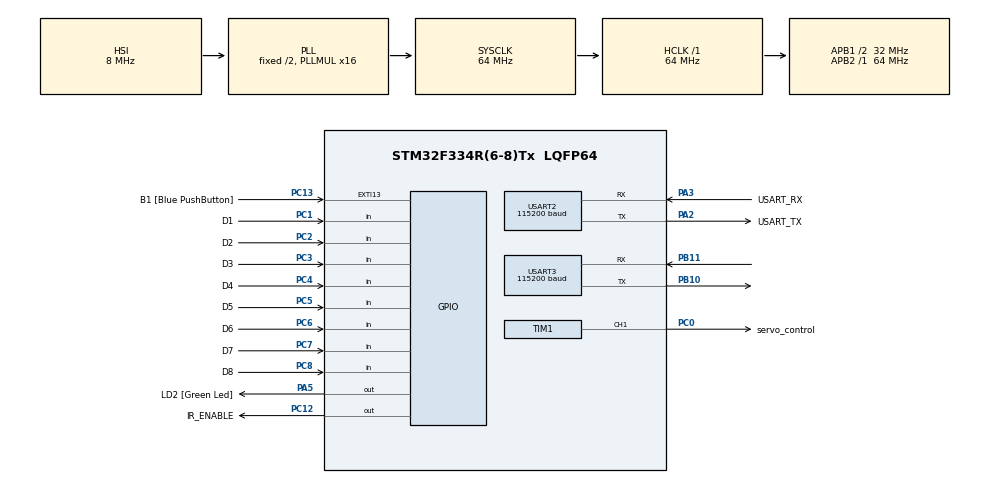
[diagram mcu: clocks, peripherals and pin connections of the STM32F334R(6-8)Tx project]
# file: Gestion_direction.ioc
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Mcu.Family=STM32F3
Mcu.Name=STM32F334R(6-8)Tx
Mcu.Package=LQFP64
NVIC.PriorityGroup=NVIC_PRIORITYGROUP_0
NVIC.USART2_IRQn=true\:0\:0\:false\:false\:true\:true\:true\:true
NVIC.USART3_IRQn=true\:0\:0\:false\:false\:true\:true\:true\:true
PA13.GPIO_Label=TMS
PA13.Mode=Serial_Wire
PA13.Signal=SYS_JTMS-SWDIO
PA14.GPIO_Label=TCK
PA14.Mode=Serial_Wire
PA14.Signal=SYS_JTCK-SWCLK
PA2.GPIO_Label=USART_TX
PA2.GPIO_PuPd=GPIO_NOPULL
PA2.Mode=Asynchronous
PA2.Signal=USART2_TX
PA3.GPIO_Label=USART_RX
PA3.GPIO_PuPd=GPIO_NOPULL
PA3.Mode=Asynchronous
PA3.Signal=USART2_RX
PA5.GPIO_Label=LD2 [Green Led]
PA5.Signal=GPIO_Output
PB10.Mode=Asynchronous
PB10.Signal=USART3_TX
PB11.Mode=Asynchronous
PB11.Signal=USART3_RX
PB3.GPIO_Label=SWO
PB3.Signal=SYS_JTDO-TRACESWO
PC0.GPIO_Label=servo_control
PC0.Signal=S_TIM1_CH1
PC1.GPIO_Label=D1
PC1.Signal=GPIO_Input
PC12.GPIO_Label=IR_ENABLE
PC12.Signal=GPIO_Output
PC13.GPIO_Label=B1 [Blue PushButton]
PC13.GPIO_ModeDefaultEXTI=GPIO_MODE_IT_FALLING
PC13.Signal=GPXTI13
PC14\ /\ OSC32_IN.Mode=LSE-External-Oscillator
PC14\ /\ OSC32_IN.Signal=RCC_OSC32_IN
PC15\ /\ OSC32_OUT.GPIO_Label=RCC_OSC32_OUT
PC15\ /\ OSC32_OUT.Mode=LSE-External-Oscillator
PC15\ /\ OSC32_OUT.Signal=RCC_OSC32_OUT
PC2.GPIO_Label=D2
PC2.Signal=GPIO_Input
PC3.GPIO_Label=D3
PC3.Signal=GPIO_Input
PC4.GPIO_Label=D4
PC4.Signal=GPIO_Input
PC5.GPIO_Label=D5
PC5.Signal=GPIO_Input
PC6.GPIO_Label=D6
PC6.Signal=GPIO_Input
PC7.GPIO_Label=D7
PC7.Signal=GPIO_Input
PC8.GPIO_Label=D8
PC8.Signal=GPIO_Input
PF0\ /\ OSC_IN.Mode=HSE-External-Clock-Source
PF0\ /\ OSC_IN.Signal=RCC_OSC_IN
PF1\ /\ OSC_OUT.Signal=RCC_OSC_OUT
ProjectManager.HeapSize=0x200
ProjectManager.StackSize=0x400
ProjectManager.TargetToolchain=STM32CubeIDE
RCC.AHBFreq_Value=64000000
RCC.APB1CLKDivider=RCC_HCLK_DIV2
RCC.APB1Freq_Value=32000000
RCC.APB1TimFreq_Value=64000000
RCC.APB2Freq_Value=64000000
RCC.APB2TimFreq_Value=64000000
RCC.CortexFreq_Value=64000000
RCC.FLatency-AdvancedSettings=FLASH_LATENCY_2
RCC.HCLKFreq_Value=64000000
RCC.HSE_VALUE=8000000
RCC.HSI_VALUE=8000000
RCC.PLLMUL=RCC_PLL_MUL16
RCC.SYSCLKFreq_VALUE=64000000
RCC.SYSCLKSourceVirtual=RCC_SYSCLKSOURCE_PLLCLK
SH.S_TIM1_CH1.0=TIM1_CH1,PWM Generation1 CH1
TIM1.Channel-PWM\ Generation1\ CH1=TIM_CHANNEL_1
TIM1.Period=64000-1
TIM1.Prescaler=20-1
USART2.BaudRate=115200
USART2.VirtualMode-Asynchronous=VM_ASYNC
USART3.BaudRate=115200
USART3.VirtualMode-Asynchronous=VM_ASYNC
VP_TIM1_VS_ClockSourceINT.Mode=Internal
board=NUCLEO-F334R8

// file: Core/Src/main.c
/* USER CODE BEGIN Header */
/**
  ******************************************************************************
  * @file           : main.c
  * @brief          : Main program body
  ******************************************************************************
  * @attention
  *
  * Copyright (c) 2024 STMicroelectronics.
  * All rights reserved.
  *
  * This software is licensed under terms that can be found in the LICENSE file
  * in the root directory of this software component.
  * If no LICENSE file comes with this software, it is provided AS-IS.
  *
  ******************************************************************************
  */
/* USER CODE END Header */
#include "main.h"
#include "tim.h"
#include "usart.h"
#include "gpio.h"

/* USER CODE BEGIN Includes */
#include "stdint.h"
#include "servo.h"
#include "ESP01.h"
/* USER CODE END Includes */

/* USER CODE BEGIN PD */
#define Test_uartESP USART3
ItemUnit Test_uartEsp;
/* USER CODE END PD */

void SystemClock_Config(void);

int main(void)
{

  /* MCU Configuration--------------------------------------------------------*/

  /* Reset of all peripherals, Initializes the Flash interface and the Systick. */
  HAL_Init();

  /* Configure the system clock */
  SystemClock_Config();

  /* Initialize all configured peripherals */
  MX_GPIO_Init();
  MX_USART2_UART_Init();
  MX_TIM1_Init();
  MX_USART3_UART_Init();
  /* USER CODE BEGIN 2 */

 // HAL_TIM_PWM_Start(&htim1, TIM_CHANNEL_1);

  choose_device(&Test_uartEsp, &huart3);
  HAL_UART_Receive_IT(Test_uartEsp.huart, &Test_uartEsp.byteRx, 1);
  HAL_Delay(700);
  TEST_AT(&Test_uartEsp);
  EspInit(&Test_uartEsp);

  /* USER CODE END 2 */

  /* Infinite loop */
  while (1)
  {

    /* USER CODE BEGIN 3 */
	  //HAL_UART_Transmit(&huart3, (uint8_t*)"AT\r\n", 4, 0xFFFFFF);
	 get_server_status(&Test_uartEsp);
	 get_server_command(&Test_uartEsp);
	 HAL_Delay(500);

  }
  /* USER CODE END 3 */
}

void SystemClock_Config(void)
{
  RCC_OscInitTypeDef RCC_OscInitStruct = {0};
  RCC_ClkInitTypeDef RCC_ClkInitStruct = {0};
  RCC_PeriphCLKInitTypeDef PeriphClkInit = {0};

  /** Initializes the RCC Oscillators according to the specified parameters
  * in the RCC_OscInitTypeDef structure.
  */
  RCC_OscInitStruct.OscillatorType = RCC_OSCILLATORTYPE_HSI;
  RCC_OscInitStruct.HSIState = RCC_HSI_ON;
  RCC_OscInitStruct.HSICalibrationValue = RCC_HSICALIBRATION_DEFAULT;
  RCC_OscInitStruct.PLL.PLLState = RCC_PLL_ON;
  RCC_OscInitStruct.PLL.PLLSource = RCC_PLLSOURCE_HSI;
  RCC_OscInitStruct.PLL.PLLMUL = RCC_PLL_MUL16;
  if (HAL_RCC_OscConfig(&RCC_OscInitStruct) != HAL_OK)
  {
    Error_Handler();
  }

  /** Initializes the CPU, AHB and APB buses clocks
  */
  RCC_ClkInitStruct.ClockType = RCC_CLOCKTYPE_HCLK|RCC_CLOCKTYPE_SYSCLK
                              |RCC_CLOCKTYPE_PCLK1|RCC_CLOCKTYPE_PCLK2;
  RCC_ClkInitStruct.SYSCLKSource = RCC_SYSCLKSOURCE_PLLCLK;
  RCC_ClkInitStruct.AHBCLKDivider = RCC_SYSCLK_DIV1;
  RCC_ClkInitStruct.APB1CLKDivider = RCC_HCLK_DIV2;
  RCC_ClkInitStruct.APB2CLKDivider = RCC_HCLK_DIV1;

  if (HAL_RCC_ClockConfig(&RCC_ClkInitStruct, FLASH_LATENCY_2) != HAL_OK)
  {
    Error_Handler();
  }
  PeriphClkInit.PeriphClockSelection = RCC_PERIPHCLK_TIM1;
  PeriphClkInit.Tim1ClockSelection = RCC_TIM1CLK_HCLK;
  if (HAL_RCCEx_PeriphCLKConfig(&PeriphClkInit) != HAL_OK)
  {
    Error_Handler();
  }
}

/* USER CODE BEGIN 4 */
void HAL_UART_RxCpltCallback(UART_HandleTypeDef *huart) {

	if (huart->Instance == Test_uartESP) {
		HAL_UART_Receive_IT(Test_uartEsp.huart,&Test_uartEsp.byteRx, 1);

		Test_uartEsp.rxBuffer[Test_uartEsp.rxbufferIndex] = Test_uartEsp.byteRx;
		Test_uartEsp.rxbufferIndex++;

	}
}

/* USER CODE END 4 */

void Error_Handler(void)
{
  __disable_irq();
  while (1)
  {
  }
}
